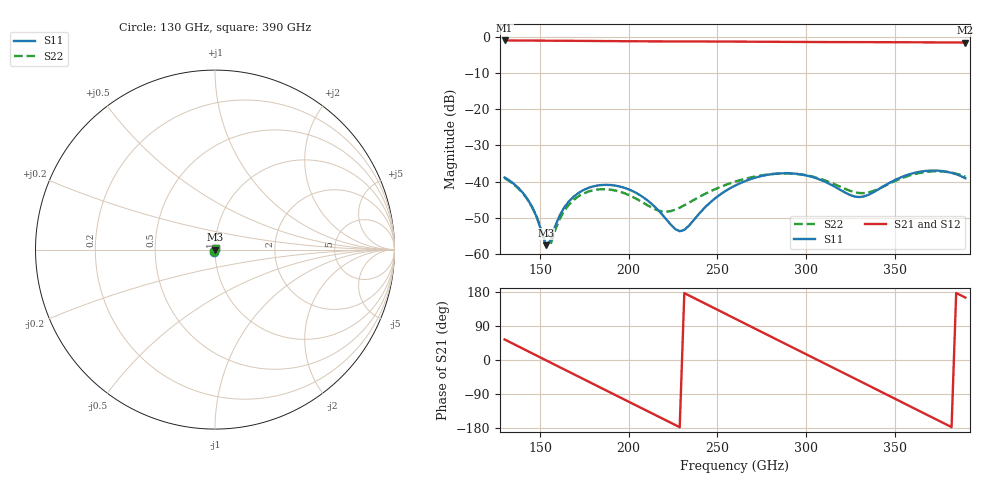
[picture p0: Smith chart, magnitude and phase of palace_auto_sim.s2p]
#  GHZ S DB R 50
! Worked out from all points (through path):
!   101 points, 130 GHz to 390 GHz, reference 50 ohm
!   highest |S21| = -0.87 dB at 130 GHz (marker M1); lowest = -1.4 dB at 390 GHz (marker M2)
!   group delay of S21, straight-line fit = 6.51 ps
!   lowest |S11| = -57.7 dB at 153.4 GHz (marker M3), VSWR 1.00, Z = 50 - j0.125 ohm
!   |S11| at or under -10 dB: start of sweep to end of sweep
!   |S22| runs from -57.9 to -37.2 dB; largest |S21 - S12| = 1e-13
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130  -38.89 -110.6  -0.87 54.1  -0.87 54.1  -39.05 -110.8
143  -44.92 -138.8  -0.90 23.6  -0.90 23.6  -45.06 -139.6
153.4  -57.69 -105.9  -0.93 -0.8  -0.93 -0.8  -57.94 -113.6
156  -56.25 -62.5  -0.94 -6.9  -0.94 -6.9  -57.38 -68.1
163.8  -47.10 -46.7  -0.96 -25.3  -0.96 -25.3  -48.03 -48.1
174.2  -42.45 -70.5  -0.99 -49.7  -0.99 -49.7  -43.41 -72.7
195  -41.39 -134.3  -1.07 -98.4  -1.07 -98.4  -42.83 -142.5
205.4  -43.49 -170.6  -1.10 -122.7  -1.10 -122.7  -45.09 172.3
218.4  -48.88 134.2  -1.13 -153.1  -1.13 -153.1  -48.28 94.8
226.2  -53.17 78.7  -1.14 -171.3  -1.14 -171.3  -47.84 41.9
231.4  -53.43 25.8  -1.14 176.5  -1.14 176.5  -46.60 11.6
244.4  -46.55 -58.7  -1.16 146.0  -1.16 146.0  -43.13 -48.6
260  -41.14 -119.1  -1.19 109.3  -1.19 109.3  -40.05 -110.4
280.8  -37.96 168.5  -1.24 60.5  -1.24 60.5  -37.94 170.8
293.8  -37.82 123.3  -1.28 30.0  -1.28 30.0  -37.87 121.9
304.2  -38.83 85.3  -1.30 5.7  -1.30 5.7  -38.70 81.5
317.2  -41.70 29.4  -1.32 -24.7  -1.32 -24.7  -40.98 24.5
330.2  -44.31 -51.1  -1.33 -55.2  -1.33 -55.2  -43.20 -49.9
348.4  -40.05 -152.8  -1.36 -97.9  -1.36 -97.9  -40.29 -152.6
358.8  -37.93 169.5  -1.38 -122.3  -1.38 -122.3  -38.29 165.7
371.8  -36.96 128.3  -1.41 -152.8  -1.41 -152.8  -37.18 120.5
390  -39.10 71.5  -1.44 164.6  -1.44 164.6  -38.64 57.2
